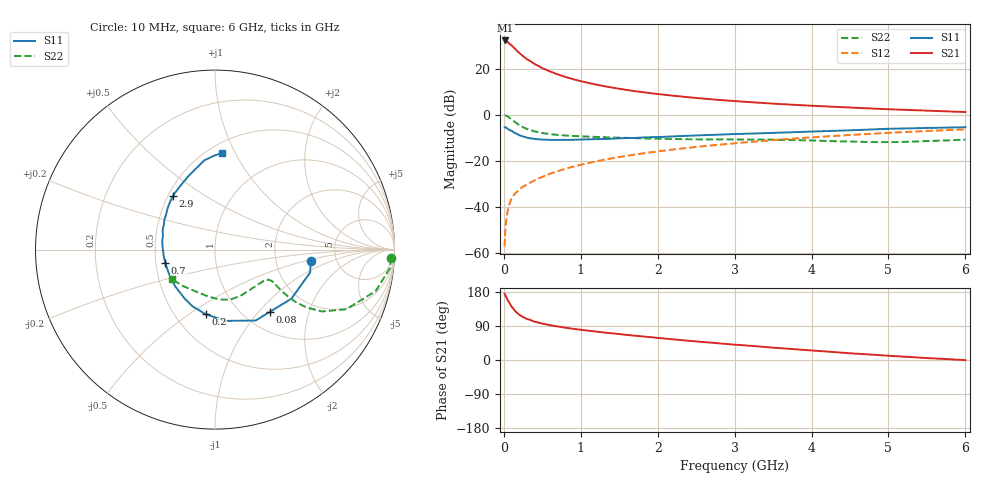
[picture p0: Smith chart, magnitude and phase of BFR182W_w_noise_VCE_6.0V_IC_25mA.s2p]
! Infineon Technologies  Discrete & RF Semiconductors
! BFR182W
! VCE =  6.0 V,  IC =  25 mA
! Common Emitter S-Parameters:  Jan 2017
# GHz  S  MA  R  50
!  f  S11  S21  S12  S22
! GHz  MAG  ANG  MAG  ANG  MAG  ANG  MAG  ANG
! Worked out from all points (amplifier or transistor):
!   77 points, 10 MHz to 6 GHz, reference 50 ohm
!   highest |S21| = 32.4 dB at 20 MHz (marker M1)
!   |S21| within 3 dB of that: start of sweep to 126.1 MHz
!   unconditionally stable (mu >= 1): 754.8 MHz to 2.293 GHz
!   at 130 MHz: K = 0.46, MSG = 32.1 dB, |S12| = -34.9 dB
!   at 2.2 GHz: K = 1.01, MAG = 11.3 dB, |S12| = -15.0 dB
!   at 6 GHz: K = 0.86, MSG = 3.8 dB, |S12| = -6.3 dB
!   lowest NFmin = 1.56 dB at 450 MHz
!   S11 on the Smith chart (normalised r, x): 10 MHz: 3.22, -0.55; 80 MHz: 1.31, -1.15; 200 MHz: 0.70, -0.58; 700 MHz: 0.56, -0.09; 2.9 GHz: 0.53, +0.37; 6 GHz: 0.58, +0.89
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0.01  0.5377 -6.5  41.52 174.8  0.0014 87.8  0.9817 -2.6
0.02  0.5453 -13.5  41.71 170.6  0.0032 91.1  0.9805 -6.0
0.05  0.5062 -32.6  38.7 158.0  0.0083 75.2  0.925 -14.4
0.08  0.4624 -48.5  34.7 148.3  0.0124 71.8  0.849 -20.1
0.1  0.4556 -60.2  32.7 140.7  0.0152 70.5  0.8037 -24.4
0.15  0.4012 -81.6  26.94 128.4  0.0199 66.7  0.6895 -30.0
0.2  0.3637 -98.2  22.41 119.6  0.0234 66.0  0.6041 -32.3
0.25  0.34 -111.5  19.02 113.0  0.0278 65.8  0.5417 -33.0
0.3  0.321 -121.8  16.36 108.3  0.0305 65.8  0.4952 -32.9
0.4  0.3015 -137.4  12.8 101.1  0.0379 68.2  0.4385 -31.9
0.5  0.2917 -148.7  10.44 96.1  0.045 69.6  0.4046 -30.7
0.6  0.2873 -157.9  8.833 91.9  0.0527 69.9  0.3829 -29.8
0.7  0.2863 -165.2  7.629 88.5  0.0597 71.8  0.3682 -29.1
0.9  0.2883 -176.8  6.001 82.4  0.075 71.7  0.3498 -29.1
1.1  0.2951 174.1  4.971 77.4  0.0902 72.2  0.3377 -29.9
1.5  0.3106 160.1  3.708 68.4  0.1215 70.8  0.3196 -33.9
2.1  0.3356 144.4  2.735 56.5  0.1692 67.4  0.3018 -44.0
2.9  0.3789 128.1  2.061 42.2  0.2337 61.7  0.2932 -61.4
3.1  0.3885 124.4  1.951 39.1  0.2501 60.0  0.2918 -65.6
4.1  0.4405 108.5  1.559 23.7  0.3337 51.4  0.2756 -87.0
5.1  0.5041 95.7  1.312 10.0  0.4161 41.8  0.2577 -118.2
6  0.5413 85.7  1.158 -0.3  0.4865 32.7  0.2912 -145.6
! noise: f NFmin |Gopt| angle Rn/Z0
0.45  1.56  0.16  -169  0.15
0.9  1.65  0.17  -163  0.16
1.9  2.18  0.33  -138  0.18
2.4  2.46  0.34  -127  0.29
